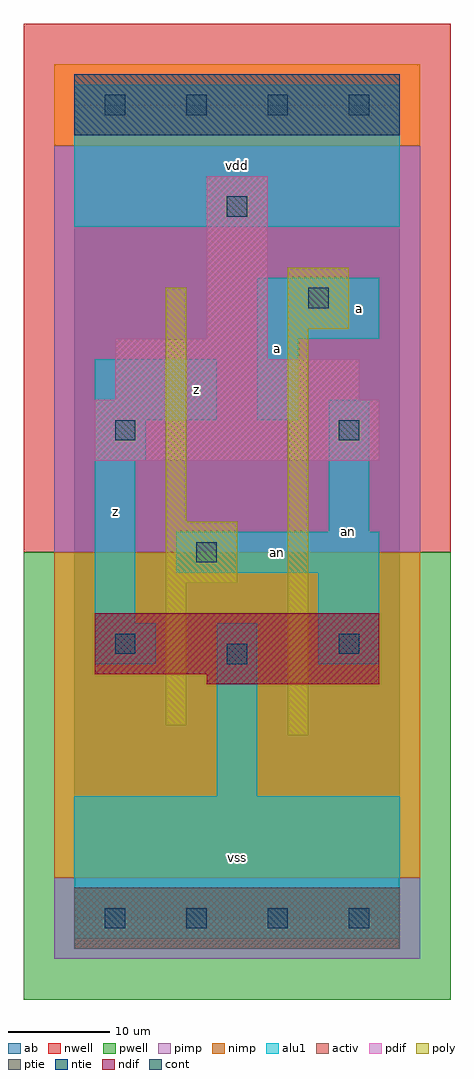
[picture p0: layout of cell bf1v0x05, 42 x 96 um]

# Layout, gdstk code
import gdstk
lib = gdstk.Library(unit=1e-6, precision=1e-09)
def R(c, l, rs):  # rectangles x0, y0, x1, y1
    for r in rs: c.add(gdstk.rectangle(r[:2], r[2:], *l))
def A(c, l, x, y, w, h, nx, ny, dx, dy):  # array of equal rectangles
    R(c, l, [(x+i*dx, y+j*dy, x+i*dx+w, y+j*dy+h) for i in range(nx) for j in range(ny)])
ndif = (3, 0)
pdif = (4, 0)
ntie = (5, 0)
ptie = (6, 0)
cont = (25, 0)
pwell = (41, 0)
nwell = (42, 0)
activ = (43, 0)
pimp = (44, 0)
nimp = (45, 0)
poly = (46, 0)
alu1 = (49, 0)
ab = (63, 0)

bf1v0x05 = lib.new_cell('bf1v0x05')
R(bf1v0x05, ndif, [(13,23,30,24), (2,24,30,30)])
R(bf1v0x05, pdif, [(2,45,30,51), (4,51,28,55), (4,55,19,57), (13,57,19,73)])
R(bf1v0x05, ntie, [(0,77,32,83)])
R(bf1v0x05, ptie, [(0,-3,32,3)])
A(bf1v0x05, cont, 3, -1, 2, 2, 4, 2, 8, 80)
R(bf1v0x05, cont, [(15,25,17,27), (4,26,6,28), (26,26,28,28), (12,35,14,37), (4,47,6,49), (26,47,28,49), (23,60,25,62), (15,69,17,71)])
R(bf1v0x05, pwell, [(-5,-8,37,36)])
R(bf1v0x05, nwell, [(-5,36,37,88)])
R(bf1v0x05, activ, [(0,-3,32,3), (13,23,30,24), (2,24,30,30), (2,45,30,51), (4,51,28,55), (4,55,19,57), (13,57,19,73), (0,77,32,83)])
R(bf1v0x05, pimp, [(-2,-4,34,4), (-2,36,34,76)])
R(bf1v0x05, nimp, [(-2,4,34,36), (-2,76,34,84)])
R(bf1v0x05, poly, [(21,18,23,58), (9,19,11,33), (9,33,16,39), (9,39,11,62), (21,58,27,64)])
R(bf1v0x05, alu1, [(0,-2,32,12), (14,12,18,29), (2,25,8,29), (24,25,30,34), (2,29,6,45), (10,34,30,38), (25,38,29,51), (2,45,7,49), (2,49,14,55), (18,49,22,57), (18,57,30,63), (0,68,32,82)])
R(bf1v0x05, ab, [(0,0,32,80)])
bf1v0x05.add(gdstk.Label('an', (27,38), layer=49, texttype=0))
bf1v0x05.add(gdstk.Label('an', (20,36), layer=49, texttype=0))
bf1v0x05.add(gdstk.Label('z', (4,40), layer=49, texttype=0))
bf1v0x05.add(gdstk.Label('vss', (16,6), layer=49, texttype=0))
bf1v0x05.add(gdstk.Label('z', (12,52), layer=49, texttype=0))
bf1v0x05.add(gdstk.Label('vdd', (16,74), layer=49, texttype=0))
bf1v0x05.add(gdstk.Label('a', (20,56), layer=49, texttype=0))
bf1v0x05.add(gdstk.Label('a', (28,60), layer=49, texttype=0))

lib.write_gds('bf1v0x05.gds')
